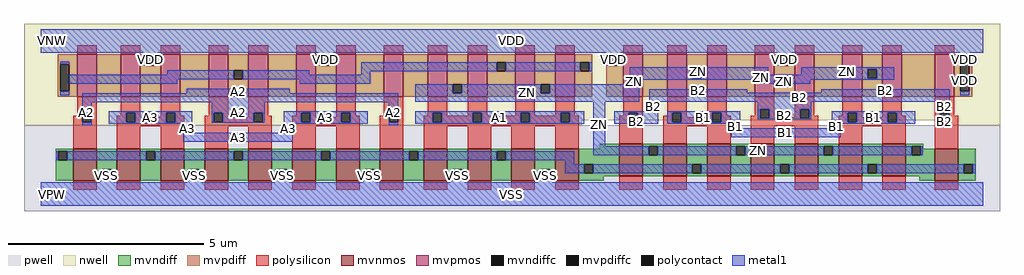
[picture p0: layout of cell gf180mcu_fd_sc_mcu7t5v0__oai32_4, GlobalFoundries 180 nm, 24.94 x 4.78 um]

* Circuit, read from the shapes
.subckt gf180mcu_fd_sc_mcu7t5v0__oai32_4 A1 A2 A3 B1 B2 ZN VDD VNW VPW VSS
XM1 VSS A2 n1 VPW nfet_06v0 w=0.82u l=0.6u m=4
XM2 n1 A3 VSS VPW nfet_06v0 w=0.82u l=0.6u m=4
XM3 VSS A1 n1 VPW nfet_06v0 w=0.82u l=0.6u m=4
XM4 ZN B2 n1 VPW nfet_06v0 w=0.82u l=0.6u m=4
XM5 n1 B1 ZN VPW nfet_06v0 w=0.82u l=0.6u m=4
XM6 n2 A2 n3 VNW pfet_06v0 w=1.095u l=0.5u
XM7 VDD A3 n2 VNW pfet_06v0 w=1.095u l=0.5u
XM8 n4 A3 VDD VNW pfet_06v0 w=1.095u l=0.5u
XM9 n3 A2 n4 VNW pfet_06v0 w=1.095u l=0.5u
XM10 n5 A2 n3 VNW pfet_06v0 w=1.095u l=0.5u
XM11 VDD A3 n5 VNW pfet_06v0 w=1.095u l=0.5u
XM12 n6 A3 VDD VNW pfet_06v0 w=1.095u l=0.5u
XM13 n7 A2 n6 VNW pfet_06v0 w=1.095u l=0.5u
XM14 ZN A1 n7 VNW pfet_06v0 w=1.095u l=0.5u
XM15 n3 A1 ZN VNW pfet_06v0 w=1.095u l=0.5u m=3
XM16 n8 B2 VDD VNW pfet_06v0 w=1.095u l=0.5u
XM17 ZN B1 n8 VNW pfet_06v0 w=1.095u l=0.5u
XM18 n9 B1 ZN VNW pfet_06v0 w=1.095u l=0.5u
XM19 VDD B2 n9 VNW pfet_06v0 w=1.095u l=0.5u
XM20 n10 B2 VDD VNW pfet_06v0 w=1.095u l=0.5u
XM21 ZN B1 n10 VNW pfet_06v0 w=1.095u l=0.5u
XM22 n11 B1 ZN VNW pfet_06v0 w=1.095u l=0.5u
XM23 VDD B2 n11 VNW pfet_06v0 w=1.095u l=0.5u
.ends

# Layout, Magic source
magic
tech gf180mcuD
magscale 1 10
<< nwell >>
rect -86 377 4902 870
rect -86 352 2765 377
rect 4596 352 4902 377
<< pwell >>
rect -86 -86 4902 352
<< mvnmos >>
rect 165 68 285 232
rect 389 68 509 232
rect 613 68 733 232
rect 837 68 957 232
rect 1061 68 1181 232
rect 1285 68 1405 232
rect 1509 68 1629 232
rect 1733 68 1853 232
rect 1957 68 2077 232
rect 2181 68 2301 232
rect 2405 68 2525 232
rect 2629 68 2749 232
rect 2957 93 3077 257
rect 3181 93 3301 257
rect 3405 93 3525 257
rect 3629 93 3749 257
rect 3853 93 3973 257
rect 4077 93 4197 257
rect 4301 93 4421 257
rect 4569 68 4689 232
<< mvpmos >>
rect 185 497 285 716
rect 409 497 509 716
rect 613 497 713 716
rect 857 497 957 716
rect 1061 497 1161 716
rect 1305 497 1405 716
rect 1509 497 1609 716
rect 1753 497 1853 716
rect 1977 497 2077 716
rect 2181 497 2281 716
rect 2425 497 2525 716
rect 2629 497 2729 716
rect 2977 497 3077 716
rect 3201 497 3301 716
rect 3405 497 3505 716
rect 3649 497 3749 716
rect 3853 497 3953 716
rect 4097 497 4197 716
rect 4301 497 4401 716
rect 4569 497 4669 716
<< mvndiff >>
rect 2857 232 2957 257
rect 77 219 165 232
rect 77 173 90 219
rect 136 173 165 219
rect 77 68 165 173
rect 285 127 389 232
rect 285 81 314 127
rect 360 81 389 127
rect 285 68 389 81
rect 509 219 613 232
rect 509 173 538 219
rect 584 173 613 219
rect 509 68 613 173
rect 733 127 837 232
rect 733 81 762 127
rect 808 81 837 127
rect 733 68 837 81
rect 957 219 1061 232
rect 957 173 986 219
rect 1032 173 1061 219
rect 957 68 1061 173
rect 1181 127 1285 232
rect 1181 81 1210 127
rect 1256 81 1285 127
rect 1181 68 1285 81
rect 1405 219 1509 232
rect 1405 173 1434 219
rect 1480 173 1509 219
rect 1405 68 1509 173
rect 1629 127 1733 232
rect 1629 81 1658 127
rect 1704 81 1733 127
rect 1629 68 1733 81
rect 1853 219 1957 232
rect 1853 173 1882 219
rect 1928 173 1957 219
rect 1853 68 1957 173
rect 2077 127 2181 232
rect 2077 81 2106 127
rect 2152 81 2181 127
rect 2077 68 2181 81
rect 2301 219 2405 232
rect 2301 173 2330 219
rect 2376 173 2405 219
rect 2301 68 2405 173
rect 2525 127 2629 232
rect 2525 81 2554 127
rect 2600 81 2629 127
rect 2525 68 2629 81
rect 2749 152 2957 232
rect 2749 106 2778 152
rect 2824 106 2957 152
rect 2749 93 2957 106
rect 3077 244 3181 257
rect 3077 198 3106 244
rect 3152 198 3181 244
rect 3077 93 3181 198
rect 3301 152 3405 257
rect 3301 106 3330 152
rect 3376 106 3405 152
rect 3301 93 3405 106
rect 3525 244 3629 257
rect 3525 198 3554 244
rect 3600 198 3629 244
rect 3525 93 3629 198
rect 3749 152 3853 257
rect 3749 106 3778 152
rect 3824 106 3853 152
rect 3749 93 3853 106
rect 3973 244 4077 257
rect 3973 198 4002 244
rect 4048 198 4077 244
rect 3973 93 4077 198
rect 4197 152 4301 257
rect 4197 106 4226 152
rect 4272 106 4301 152
rect 4197 93 4301 106
rect 4421 244 4509 257
rect 4421 198 4450 244
rect 4496 232 4509 244
rect 4496 198 4569 232
rect 4421 93 4569 198
rect 2749 68 2877 93
rect 4489 68 4569 93
rect 4689 152 4777 232
rect 4689 106 4718 152
rect 4764 106 4777 152
rect 4689 68 4777 106
<< mvpdiff >>
rect 87 665 185 716
rect 87 525 100 665
rect 146 525 185 665
rect 87 497 185 525
rect 285 497 409 716
rect 509 703 613 716
rect 509 657 538 703
rect 584 657 613 703
rect 509 497 613 657
rect 713 497 857 716
rect 957 634 1061 716
rect 957 588 986 634
rect 1032 588 1061 634
rect 957 497 1061 588
rect 1161 497 1305 716
rect 1405 703 1509 716
rect 1405 657 1434 703
rect 1480 657 1509 703
rect 1405 497 1509 657
rect 1609 497 1753 716
rect 1853 497 1977 716
rect 2077 562 2181 716
rect 2077 516 2106 562
rect 2152 516 2181 562
rect 2077 497 2181 516
rect 2281 674 2425 716
rect 2281 628 2330 674
rect 2376 628 2425 674
rect 2281 497 2425 628
rect 2525 562 2629 716
rect 2525 516 2554 562
rect 2600 516 2629 562
rect 2525 497 2629 516
rect 2729 674 2817 716
rect 2729 628 2758 674
rect 2804 628 2817 674
rect 2729 497 2817 628
rect 2889 703 2977 716
rect 2889 657 2902 703
rect 2948 657 2977 703
rect 2889 497 2977 657
rect 3077 497 3201 716
rect 3301 639 3405 716
rect 3301 593 3330 639
rect 3376 593 3405 639
rect 3301 497 3405 593
rect 3505 497 3649 716
rect 3749 703 3853 716
rect 3749 657 3778 703
rect 3824 657 3853 703
rect 3749 497 3853 657
rect 3953 497 4097 716
rect 4197 639 4301 716
rect 4197 593 4226 639
rect 4272 593 4301 639
rect 4197 497 4301 593
rect 4401 497 4569 716
rect 4669 665 4759 716
rect 4669 525 4700 665
rect 4746 525 4759 665
rect 4669 497 4759 525
<< mvndiffc >>
rect 90 173 136 219
rect 314 81 360 127
rect 538 173 584 219
rect 762 81 808 127
rect 986 173 1032 219
rect 1210 81 1256 127
rect 1434 173 1480 219
rect 1658 81 1704 127
rect 1882 173 1928 219
rect 2106 81 2152 127
rect 2330 173 2376 219
rect 2554 81 2600 127
rect 2778 106 2824 152
rect 3106 198 3152 244
rect 3330 106 3376 152
rect 3554 198 3600 244
rect 3778 106 3824 152
rect 4002 198 4048 244
rect 4226 106 4272 152
rect 4450 198 4496 244
rect 4718 106 4764 152
<< mvpdiffc >>
rect 100 525 146 665
rect 538 657 584 703
rect 986 588 1032 634
rect 1434 657 1480 703
rect 2106 516 2152 562
rect 2330 628 2376 674
rect 2554 516 2600 562
rect 2758 628 2804 674
rect 2902 657 2948 703
rect 3330 593 3376 639
rect 3778 657 3824 703
rect 4226 593 4272 639
rect 4700 525 4746 665
<< polysilicon >>
rect 185 716 285 760
rect 409 716 509 760
rect 613 716 713 760
rect 857 716 957 760
rect 1061 716 1161 760
rect 1305 716 1405 760
rect 1509 716 1609 760
rect 1753 716 1853 760
rect 1977 716 2077 760
rect 2181 716 2281 760
rect 2425 716 2525 760
rect 2629 716 2729 760
rect 2977 716 3077 760
rect 3201 716 3301 760
rect 3405 716 3505 760
rect 3649 716 3749 760
rect 3853 716 3953 760
rect 4097 716 4197 760
rect 4301 716 4401 760
rect 4569 716 4669 760
rect 185 415 285 497
rect 185 402 212 415
rect 165 369 212 402
rect 258 369 285 415
rect 409 415 509 497
rect 409 402 436 415
rect 165 232 285 369
rect 389 369 436 402
rect 482 394 509 415
rect 613 415 713 497
rect 613 394 640 415
rect 482 369 640 394
rect 686 402 713 415
rect 857 415 957 497
rect 857 402 884 415
rect 686 369 733 402
rect 389 348 733 369
rect 389 232 509 348
rect 613 232 733 348
rect 837 369 884 402
rect 930 394 957 415
rect 1061 415 1161 497
rect 1061 394 1088 415
rect 930 369 1088 394
rect 1134 402 1161 415
rect 1305 415 1405 497
rect 1305 402 1332 415
rect 1134 369 1181 402
rect 837 348 1181 369
rect 837 232 957 348
rect 1061 232 1181 348
rect 1285 369 1332 402
rect 1378 394 1405 415
rect 1509 415 1609 497
rect 1509 394 1536 415
rect 1378 369 1536 394
rect 1582 402 1609 415
rect 1753 415 1853 497
rect 1753 402 1780 415
rect 1582 369 1629 402
rect 1285 348 1629 369
rect 1285 232 1405 348
rect 1509 232 1629 348
rect 1733 369 1780 402
rect 1826 369 1853 415
rect 1977 415 2077 497
rect 1977 402 2004 415
rect 1733 232 1853 369
rect 1957 369 2004 402
rect 2050 402 2077 415
rect 2181 415 2281 497
rect 2181 402 2208 415
rect 2050 369 2208 402
rect 2254 402 2281 415
rect 2425 415 2525 497
rect 2425 402 2452 415
rect 2254 369 2452 402
rect 2498 402 2525 415
rect 2629 415 2729 497
rect 2629 402 2656 415
rect 2498 369 2656 402
rect 2702 402 2729 415
rect 2977 415 3077 497
rect 2977 402 3004 415
rect 2702 369 2749 402
rect 1957 348 2749 369
rect 1957 232 2077 348
rect 2181 232 2301 348
rect 2405 232 2525 348
rect 2629 232 2749 348
rect 2957 369 3004 402
rect 3050 369 3077 415
rect 3201 415 3301 497
rect 3201 402 3228 415
rect 2957 257 3077 369
rect 3181 369 3228 402
rect 3274 394 3301 415
rect 3405 415 3505 497
rect 3405 394 3432 415
rect 3274 369 3432 394
rect 3478 402 3505 415
rect 3649 433 3749 497
rect 3649 402 3676 433
rect 3478 369 3525 402
rect 3181 348 3525 369
rect 3181 257 3301 348
rect 3405 257 3525 348
rect 3629 387 3676 402
rect 3722 394 3749 433
rect 3853 433 3953 497
rect 3853 394 3880 433
rect 3722 387 3880 394
rect 3926 402 3953 433
rect 4097 415 4197 497
rect 4097 402 4124 415
rect 3926 387 3973 402
rect 3629 348 3973 387
rect 3629 257 3749 348
rect 3853 257 3973 348
rect 4077 369 4124 402
rect 4170 394 4197 415
rect 4301 415 4401 497
rect 4301 394 4328 415
rect 4170 369 4328 394
rect 4374 402 4401 415
rect 4569 415 4669 497
rect 4374 369 4421 402
rect 4077 348 4421 369
rect 4077 257 4197 348
rect 4301 257 4421 348
rect 4569 369 4596 415
rect 4642 402 4669 415
rect 4642 369 4689 402
rect 4569 232 4689 369
rect 165 24 285 68
rect 389 24 509 68
rect 613 24 733 68
rect 837 24 957 68
rect 1061 24 1181 68
rect 1285 24 1405 68
rect 1509 24 1629 68
rect 1733 24 1853 68
rect 1957 24 2077 68
rect 2181 24 2301 68
rect 2405 24 2525 68
rect 2629 24 2749 68
rect 2957 24 3077 93
rect 3181 24 3301 93
rect 3405 24 3525 93
rect 3629 24 3749 93
rect 3853 24 3973 93
rect 4077 24 4197 93
rect 4301 24 4421 93
rect 4569 24 4689 68
<< polycontact >>
rect 212 369 258 415
rect 436 369 482 415
rect 640 369 686 415
rect 884 369 930 415
rect 1088 369 1134 415
rect 1332 369 1378 415
rect 1536 369 1582 415
rect 1780 369 1826 415
rect 2004 369 2050 415
rect 2208 369 2254 415
rect 2452 369 2498 415
rect 2656 369 2702 415
rect 3004 369 3050 415
rect 3228 369 3274 415
rect 3432 369 3478 415
rect 3676 387 3722 433
rect 3880 387 3926 433
rect 4124 369 4170 415
rect 4328 369 4374 415
rect 4596 369 4642 415
<< metal1 >>
rect 0 724 4816 844
rect 527 703 595 724
rect 100 665 146 676
rect 527 657 538 703
rect 584 657 595 703
rect 1423 703 1491 724
rect 1423 657 1434 703
rect 1480 657 1491 703
rect 2891 703 2959 724
rect 646 611 986 634
rect 146 588 986 611
rect 1032 611 1373 634
rect 1638 628 2330 674
rect 2376 628 2758 674
rect 2804 628 2817 674
rect 2891 657 2902 703
rect 2948 657 2959 703
rect 3767 703 3835 724
rect 3767 657 3778 703
rect 3824 657 3835 703
rect 4700 665 4746 724
rect 3009 639 3717 648
rect 1638 611 1684 628
rect 1032 588 1684 611
rect 146 565 696 588
rect 1323 565 1684 588
rect 3009 593 3330 639
rect 3376 611 3717 639
rect 3885 639 4362 648
rect 3885 611 4226 639
rect 3376 593 4226 611
rect 4272 593 4362 639
rect 3009 584 4362 593
rect 3009 563 3059 584
rect 3667 565 3931 584
rect 1914 562 3059 563
rect 100 506 146 525
rect 746 516 1273 538
rect 1914 516 2106 562
rect 2152 516 2554 562
rect 2600 516 3059 562
rect 211 470 1827 516
rect 1914 472 3059 516
rect 3109 519 3610 536
rect 3989 519 4645 536
rect 3109 472 4645 519
rect 4700 506 4746 525
rect 211 415 259 470
rect 211 369 212 415
rect 258 369 259 415
rect 211 352 259 369
rect 346 415 774 424
rect 346 369 436 415
rect 482 369 640 415
rect 686 369 774 415
rect 346 360 774 369
rect 873 415 1145 470
rect 873 369 884 415
rect 930 369 1088 415
rect 1134 369 1145 415
rect 873 365 1145 369
rect 1242 415 1670 424
rect 1242 369 1332 415
rect 1378 369 1536 415
rect 1582 369 1670 415
rect 728 315 774 360
rect 1242 360 1670 369
rect 1779 415 1827 470
rect 1779 369 1780 415
rect 1826 369 1827 415
rect 1242 315 1288 360
rect 1779 352 1827 369
rect 1914 415 2776 424
rect 1914 369 2004 415
rect 2050 369 2208 415
rect 2254 369 2452 415
rect 2498 369 2656 415
rect 2702 369 2776 415
rect 1914 360 2776 369
rect 728 269 1288 315
rect 2824 244 2884 472
rect 3109 424 3155 472
rect 3665 433 3937 472
rect 2930 415 3155 424
rect 2930 369 3004 415
rect 3050 369 3155 415
rect 2930 360 3155 369
rect 3201 415 3574 424
rect 3201 369 3228 415
rect 3274 369 3432 415
rect 3478 369 3574 415
rect 3665 387 3676 433
rect 3722 387 3880 433
rect 3926 387 3937 433
rect 3665 382 3937 387
rect 4042 415 4470 424
rect 3201 360 3574 369
rect 3528 336 3574 360
rect 4042 369 4124 415
rect 4170 369 4328 415
rect 4374 369 4470 415
rect 4042 360 4470 369
rect 4593 415 4645 472
rect 4593 369 4596 415
rect 4642 369 4645 415
rect 4042 336 4088 360
rect 4593 352 4645 369
rect 3528 290 4088 336
rect 77 173 90 219
rect 136 173 538 219
rect 584 173 986 219
rect 1032 173 1434 219
rect 1480 173 1882 219
rect 1928 173 2330 219
rect 2376 173 2727 219
rect 2824 198 3106 244
rect 3152 198 3554 244
rect 3600 198 4002 244
rect 4048 198 4450 244
rect 4496 198 4507 244
rect 2681 152 2727 173
rect 303 81 314 127
rect 360 81 371 127
rect 303 60 371 81
rect 751 81 762 127
rect 808 81 819 127
rect 751 60 819 81
rect 1199 81 1210 127
rect 1256 81 1267 127
rect 1199 60 1267 81
rect 1647 81 1658 127
rect 1704 81 1715 127
rect 1647 60 1715 81
rect 2095 81 2106 127
rect 2152 81 2163 127
rect 2095 60 2163 81
rect 2543 81 2554 127
rect 2600 81 2611 127
rect 2681 106 2778 152
rect 2824 106 3330 152
rect 3376 106 3778 152
rect 3824 106 4226 152
rect 4272 106 4718 152
rect 4764 106 4777 152
rect 2543 60 2611 81
rect 0 -60 4816 60
<< labels >>
flabel metal1 s 1242 360 1670 424 0 FreeSans 400 0 0 0 A3
port 3 nsew default input
flabel metal1 s 4042 360 4470 424 0 FreeSans 400 0 0 0 B1
port 4 nsew default input
flabel metal1 s 3989 519 4645 536 0 FreeSans 400 0 0 0 B2
port 5 nsew default input
flabel metal1 s 0 724 4816 844 0 FreeSans 400 0 0 0 VDD
port 7 nsew power bidirectional abutment
flabel metal1 s 2543 60 2611 127 0 FreeSans 400 0 0 0 VSS
port 10 nsew ground bidirectional abutment
flabel metal1 s 3885 611 4362 648 0 FreeSans 400 0 0 0 ZN
port 6 nsew default output
flabel metal1 s 1914 360 2776 424 0 FreeSans 400 0 0 0 A1
port 1 nsew default input
flabel metal1 s 746 516 1273 538 0 FreeSans 400 0 0 0 A2
port 2 nsew default input
flabel nwell s 10 734 110 834 0 FreeSans 400 0 0 0 VNW
port 8 nsew power bidirectional
flabel pwell s 10 -50 110 50 0 FreeSans 400 0 0 0 VPW
port 9 nsew ground bidirectional
rlabel metal1 s 211 470 1827 516 1 A2
port 2 nsew default input
rlabel metal1 s 1779 365 1827 470 1 A2
port 2 nsew default input
rlabel metal1 s 873 365 1145 470 1 A2
port 2 nsew default input
rlabel metal1 s 211 365 259 470 1 A2
port 2 nsew default input
rlabel metal1 s 1779 352 1827 365 1 A2
port 2 nsew default input
rlabel metal1 s 211 352 259 365 1 A2
port 2 nsew default input
rlabel metal1 s 346 360 774 424 1 A3
port 3 nsew default input
rlabel metal1 s 1242 315 1288 360 1 A3
port 3 nsew default input
rlabel metal1 s 728 315 774 360 1 A3
port 3 nsew default input
rlabel metal1 s 728 269 1288 315 1 A3
port 3 nsew default input
rlabel metal1 s 3201 360 3574 424 1 B1
port 4 nsew default input
rlabel metal1 s 4042 336 4088 360 1 B1
port 4 nsew default input
rlabel metal1 s 3528 336 3574 360 1 B1
port 4 nsew default input
rlabel metal1 s 3528 290 4088 336 1 B1
port 4 nsew default input
rlabel metal1 s 3109 519 3610 536 1 B2
port 5 nsew default input
rlabel metal1 s 3109 472 4645 519 1 B2
port 5 nsew default input
rlabel metal1 s 4593 424 4645 472 1 B2
port 5 nsew default input
rlabel metal1 s 3665 424 3937 472 1 B2
port 5 nsew default input
rlabel metal1 s 3109 424 3155 472 1 B2
port 5 nsew default input
rlabel metal1 s 4593 382 4645 424 1 B2
port 5 nsew default input
rlabel metal1 s 3665 382 3937 424 1 B2
port 5 nsew default input
rlabel metal1 s 2930 382 3155 424 1 B2
port 5 nsew default input
rlabel metal1 s 4593 360 4645 382 1 B2
port 5 nsew default input
rlabel metal1 s 2930 360 3155 382 1 B2
port 5 nsew default input
rlabel metal1 s 4593 352 4645 360 1 B2
port 5 nsew default input
rlabel metal1 s 3009 611 3717 648 1 ZN
port 6 nsew default output
rlabel metal1 s 3009 584 4362 611 1 ZN
port 6 nsew default output
rlabel metal1 s 3667 565 3931 584 1 ZN
port 6 nsew default output
rlabel metal1 s 3009 565 3059 584 1 ZN
port 6 nsew default output
rlabel metal1 s 3009 563 3059 565 1 ZN
port 6 nsew default output
rlabel metal1 s 1914 472 3059 563 1 ZN
port 6 nsew default output
rlabel metal1 s 2824 244 2884 472 1 ZN
port 6 nsew default output
rlabel metal1 s 2824 198 4507 244 1 ZN
port 6 nsew default output
rlabel metal1 s 4700 657 4746 724 1 VDD
port 7 nsew power bidirectional abutment
rlabel metal1 s 3767 657 3835 724 1 VDD
port 7 nsew power bidirectional abutment
rlabel metal1 s 2891 657 2959 724 1 VDD
port 7 nsew power bidirectional abutment
rlabel metal1 s 1423 657 1491 724 1 VDD
port 7 nsew power bidirectional abutment
rlabel metal1 s 527 657 595 724 1 VDD
port 7 nsew power bidirectional abutment
rlabel metal1 s 4700 506 4746 657 1 VDD
port 7 nsew power bidirectional abutment
rlabel metal1 s 2095 60 2163 127 1 VSS
port 10 nsew ground bidirectional abutment
rlabel metal1 s 1647 60 1715 127 1 VSS
port 10 nsew ground bidirectional abutment
rlabel metal1 s 1199 60 1267 127 1 VSS
port 10 nsew ground bidirectional abutment
rlabel metal1 s 751 60 819 127 1 VSS
port 10 nsew ground bidirectional abutment
rlabel metal1 s 303 60 371 127 1 VSS
port 10 nsew ground bidirectional abutment
rlabel metal1 s 0 -60 4816 60 1 VSS
port 10 nsew ground bidirectional abutment
<< properties >>
string FIXED_BBOX 0 0 4816 784
string GDS_END 69192
string GDS_FILE $PDKPATH/libs.ref/gf180mcu_fd_sc_mcu7t5v0/gds/gf180mcu_fd_sc_mcu7t5v0.gds
string GDS_START 60716
string LEFclass core
string LEFsite GF018hv5v_mcu_sc7
string LEFsymmetry X Y
<< end >>
